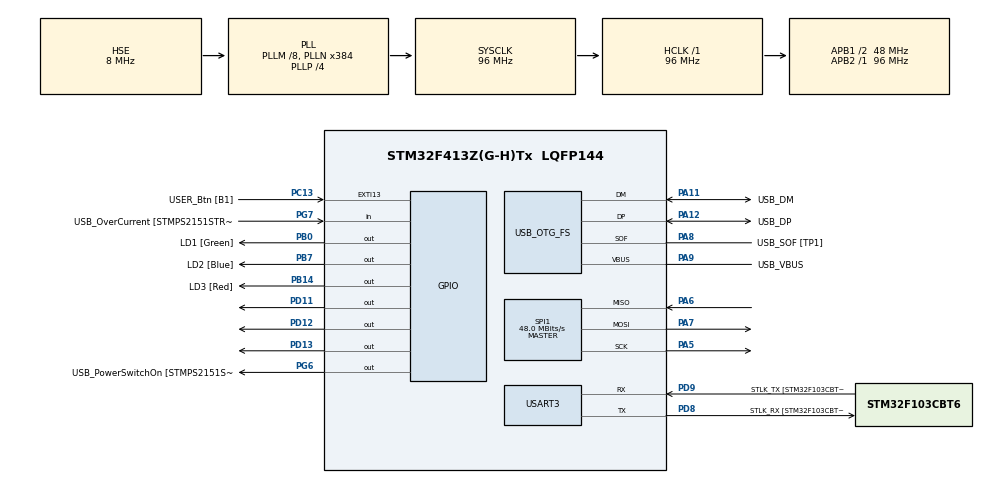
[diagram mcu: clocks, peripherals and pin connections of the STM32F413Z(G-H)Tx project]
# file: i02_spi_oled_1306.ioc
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Mcu.Family=STM32F4
Mcu.Name=STM32F413Z(G-H)Tx
Mcu.Package=LQFP144
NVIC.PriorityGroup=NVIC_PRIORITYGROUP_4
PA10.GPIO_Label=USB_ID
PA10.Signal=USB_OTG_FS_ID
PA11.GPIO_Label=USB_DM
PA11.Mode=Device_Only
PA11.Signal=USB_OTG_FS_DM
PA12.GPIO_Label=USB_DP
PA12.Mode=Device_Only
PA12.Signal=USB_OTG_FS_DP
PA13.GPIO_Label=TMS
PA13.Mode=Serial_Wire
PA13.Signal=SYS_JTMS-SWDIO
PA14.GPIO_Label=TCK
PA14.Mode=Serial_Wire
PA14.Signal=SYS_JTCK-SWCLK
PA5.Mode=Full_Duplex_Master
PA5.Signal=SPI1_SCK
PA6.Mode=Full_Duplex_Master
PA6.Signal=SPI1_MISO
PA7.Mode=Full_Duplex_Master
PA7.Signal=SPI1_MOSI
PA8.GPIO_Label=USB_SOF [TP1]
PA8.Mode=Activate_SOF_FS
PA8.Signal=USB_OTG_FS_SOF
PA9.GPIO_Label=USB_VBUS
PA9.Mode=Activate_VBUS
PA9.Signal=USB_OTG_FS_VBUS
PB0.GPIO_Label=LD1 [Green]
PB0.Signal=GPIO_Output
PB14.GPIO_Label=LD3 [Red]
PB14.Signal=GPIO_Output
PB3.GPIO_Label=SWO
PB3.Signal=SYS_JTDO-SWO
PB7.GPIO_Label=LD2 [Blue]
PB7.Signal=GPIO_Output
PC13.GPIO_Label=USER_Btn [B1]
PC13.Signal=GPXTI13
PC14-OSC32_IN.Mode=LSE-External-Oscillator
PC14-OSC32_IN.Signal=RCC_OSC32_IN
PC15-OSC32_OUT.Mode=LSE-External-Oscillator
PC15-OSC32_OUT.Signal=RCC_OSC32_OUT
PD11.Signal=GPIO_Output
PD12.Signal=GPIO_Output
PD13.Signal=GPIO_Output
PD8.GPIO_Label=STLK_RX [STM32F103CBT6_PA3]
PD8.Mode=Asynchronous
PD8.Signal=USART3_TX
PD9.GPIO_Label=STLK_TX [STM32F103CBT6_PA2]
PD9.Mode=Asynchronous
PD9.Signal=USART3_RX
PG6.GPIO_Label=USB_PowerSwitchOn [STMPS2151STR_EN]
PG6.Signal=GPIO_Output
PG7.GPIO_Label=USB_OverCurrent [STMPS2151STR_FAULT]
PG7.Signal=GPIO_Input
PH0\ -\ OSC_IN.GPIO_Label=MCO
PH0\ -\ OSC_IN.Mode=HSE-External-Clock-Source
PH0\ -\ OSC_IN.Signal=RCC_OSC_IN
PH1\ -\ OSC_OUT.Mode=HSE-External-Clock-Source
PH1\ -\ OSC_OUT.Signal=RCC_OSC_OUT
ProjectManager.HeapSize=0x200
ProjectManager.StackSize=0x400
ProjectManager.TargetToolchain=STM32CubeIDE
RCC.48MHZClocksFreq_Value=24000000
RCC.AHBFreq_Value=96000000
RCC.APB1CLKDivider=RCC_HCLK_DIV2
RCC.APB1Freq_Value=48000000
RCC.APB1TimFreq_Value=96000000
RCC.APB2Freq_Value=96000000
RCC.APB2TimFreq_Value=96000000
RCC.CortexFreq_Value=96000000
RCC.HCLKFreq_Value=96000000
RCC.HSE_VALUE=8000000
RCC.HSI_VALUE=16000000
RCC.PLLM=8
RCC.PLLMUL=RCC_PLL_MUL9
RCC.PLLN=384
RCC.PLLP=RCC_PLLP_DIV4
RCC.PLLQ=8
RCC.PRESCALERUSB=RCC_USBCLKSOURCE_PLL_DIV1_5
RCC.SYSCLKFreq_VALUE=96000000
RCC.SYSCLKSource=RCC_SYSCLKSOURCE_PLLCLK
RCC.SYSCLKSourceVirtual=RCC_SYSCLKSOURCE_PLLCLK
RCC.USBFreq_Value=48000000
RCC.VCOOutputFreq_Value=384000000
SPI1.CalculateBaudRate=48.0 MBits/s
SPI1.Direction=SPI_DIRECTION_2LINES
SPI1.Mode=SPI_MODE_MASTER
SPI1.VirtualType=VM_MASTER
USART3.VirtualMode=VM_ASYNC
USB_OTG_FS.VirtualMode=Device_Only
board=NUCLEO-F413ZH

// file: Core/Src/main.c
/* USER CODE BEGIN Header */
/**
 ******************************************************************************
 * @file           : main.c
 * @brief          : Main program body
 ******************************************************************************
 * @attention
 *
 * Copyright (c) 2025 STMicroelectronics.
 * All rights reserved.
 *
 * This software is licensed under terms that can be found in the LICENSE file
 * in the root directory of this software component.
 * If no LICENSE file comes with this software, it is provided AS-IS.
 *
 ******************************************************************************
 */
/* USER CODE END Header */
#include "main.h"
/* USER CODE BEGIN Includes */
/* 解析度設定 */
#define SSD1306_WIDTH   128
#define SSD1306_HEIGHT   64
/* 連接腳位（依你的接線調整） */
#define SSD1306_SPI_HANDLE   hspi1
extern SPI_HandleTypeDef SSD1306_SPI_HANDLE;
#define SSD1306_DC_Port   GPIOD
#define SSD1306_DC_Pin    GPIO_PIN_12
#define SSD1306_RST_Port  GPIOD
#define SSD1306_RST_Pin   GPIO_PIN_13
#define SSD1306_CS_Port   GPIOD
#define SSD1306_CS_Pin    GPIO_PIN_11
/* 公用 API */
void     SSD1306_Init(void);
void     SSD1306_Update(void);
void     SSD1306_Fill(uint8_t color);    /* 0x00=黑, 0xFF=白(每頁位元) */
void     SSD1306_DrawPixel(uint16_t x, uint16_t y, uint8_t color);
/* 簡易工具 */
static inline void SSD1306_Select(void)   { HAL_GPIO_WritePin(SSD1306_CS_Port,  SSD1306_CS_Pin,  GPIO_PIN_RESET); }
static inline void SSD1306_Unselect(void) { HAL_GPIO_WritePin(SSD1306_CS_Port,  SSD1306_CS_Pin,  GPIO_PIN_SET); }
static inline void SSD1306_DC_Command(void){ HAL_GPIO_WritePin(SSD1306_DC_Port, SSD1306_DC_Pin, GPIO_PIN_RESET); }
static inline void SSD1306_DC_Data(void)   { HAL_GPIO_WritePin(SSD1306_DC_Port, SSD1306_DC_Pin, GPIO_PIN_SET);   }
/* USER CODE END Includes */
SPI_HandleTypeDef hspi1;
UART_HandleTypeDef huart3;
PCD_HandleTypeDef hpcd_USB_OTG_FS;
void SystemClock_Config(void);
static void MX_GPIO_Init(void);
static void MX_USART3_UART_Init(void);
static void MX_USB_OTG_FS_PCD_Init(void);
static void MX_SPI1_Init(void);
int main(void)
{
 /* MCU Configuration--------------------------------------------------------*/
 /* Reset of all peripherals, Initializes the Flash interface and the Systick. */
 HAL_Init();
 /* Configure the system clock */
 SystemClock_Config();
 /* Initialize all configured peripherals */
 MX_GPIO_Init();
 MX_USART3_UART_Init();
 MX_USB_OTG_FS_PCD_Init();
 MX_SPI1_Init();
 /* Infinite loop */
 /* USER CODE BEGIN WHILE */
 SSD1306_Init();                // 啟動顯示器
 /* Demo：畫斜線與邊框，再全螢幕更新 */
   SSD1306_Fill(0x00);            // 清黑
   for (uint16_t i = 0; i < 64; ++i) {
       SSD1306_DrawPixel(i*2, i, 1);            // 斜線
   }
   for (uint16_t x = 0; x < SSD1306_WIDTH;  ++x) { // 上/下邊框
       SSD1306_DrawPixel(x, 0, 1);
       SSD1306_DrawPixel(x, SSD1306_HEIGHT-1, 1);
   }
   for (uint16_t y = 0; y < SSD1306_HEIGHT; ++y) { // 左/右邊框
       SSD1306_DrawPixel(0, y, 1);
       SSD1306_DrawPixel(SSD1306_WIDTH-1, y, 1);
   }
   SSD1306_Update();
 while (1)
 {
	  HAL_Delay(1000);
   /* USER CODE END WHILE */
 }
}
void SystemClock_Config(void)
{
 RCC_OscInitTypeDef RCC_OscInitStruct = {0};
 RCC_ClkInitTypeDef RCC_ClkInitStruct = {0};
 /** Configure the main internal regulator output voltage
 */
 __HAL_RCC_PWR_CLK_ENABLE();
 __HAL_PWR_VOLTAGESCALING_CONFIG(PWR_REGULATOR_VOLTAGE_SCALE1);
 /** Initializes the RCC Oscillators according to the specified parameters
 * in the RCC_OscInitTypeDef structure.
 */
 RCC_OscInitStruct.OscillatorType = RCC_OSCILLATORTYPE_HSE;
 RCC_OscInitStruct.HSEState = RCC_HSE_BYPASS;
 RCC_OscInitStruct.PLL.PLLState = RCC_PLL_ON;
 RCC_OscInitStruct.PLL.PLLSource = RCC_PLLSOURCE_HSE;
 RCC_OscInitStruct.PLL.PLLM = 8;
 RCC_OscInitStruct.PLL.PLLN = 384;
 RCC_OscInitStruct.PLL.PLLP = RCC_PLLP_DIV4;
 RCC_OscInitStruct.PLL.PLLQ = 8;
 RCC_OscInitStruct.PLL.PLLR = 2;
 if (HAL_RCC_OscConfig(&RCC_OscInitStruct) != HAL_OK)
 {
   Error_Handler();
 }
 /** Initializes the CPU, AHB and APB buses clocks
 */
 RCC_ClkInitStruct.ClockType = RCC_CLOCKTYPE_HCLK|RCC_CLOCKTYPE_SYSCLK
                             |RCC_CLOCKTYPE_PCLK1|RCC_CLOCKTYPE_PCLK2;
 RCC_ClkInitStruct.SYSCLKSource = RCC_SYSCLKSOURCE_PLLCLK;
 RCC_ClkInitStruct.AHBCLKDivider = RCC_SYSCLK_DIV1;
 RCC_ClkInitStruct.APB1CLKDivider = RCC_HCLK_DIV2;
 RCC_ClkInitStruct.APB2CLKDivider = RCC_HCLK_DIV1;
 if (HAL_RCC_ClockConfig(&RCC_ClkInitStruct, FLASH_LATENCY_3) != HAL_OK)
 {
   Error_Handler();
 }
}
static void MX_SPI1_Init(void)
{
 /* SPI1 parameter configuration*/
 hspi1.Instance = SPI1;
 hspi1.Init.Mode = SPI_MODE_MASTER;
 hspi1.Init.Direction = SPI_DIRECTION_2LINES;
 hspi1.Init.DataSize = SPI_DATASIZE_8BIT;
 hspi1.Init.CLKPolarity = SPI_POLARITY_LOW;
 hspi1.Init.CLKPhase = SPI_PHASE_1EDGE;
 hspi1.Init.NSS = SPI_NSS_SOFT;
 hspi1.Init.BaudRatePrescaler = SPI_BAUDRATEPRESCALER_2;
 hspi1.Init.FirstBit = SPI_FIRSTBIT_MSB;
 hspi1.Init.TIMode = SPI_TIMODE_DISABLE;
 hspi1.Init.CRCCalculation = SPI_CRCCALCULATION_DISABLE;
 hspi1.Init.CRCPolynomial = 7;
 if (HAL_SPI_Init(&hspi1) != HAL_OK)
 {
   Error_Handler();
 }
}
static void MX_USART3_UART_Init(void)
{
 huart3.Instance = USART3;
 huart3.Init.BaudRate = 115200;
 huart3.Init.WordLength = UART_WORDLENGTH_8B;
 huart3.Init.StopBits = UART_STOPBITS_1;
 huart3.Init.Parity = UART_PARITY_NONE;
 huart3.Init.Mode = UART_MODE_TX_RX;
 huart3.Init.HwFlowCtl = UART_HWCONTROL_NONE;
 huart3.Init.OverSampling = UART_OVERSAMPLING_16;
 if (HAL_UART_Init(&huart3) != HAL_OK)
 {
   Error_Handler();
 }
}
static void MX_USB_OTG_FS_PCD_Init(void)
{
 hpcd_USB_OTG_FS.Instance = USB_OTG_FS;
 hpcd_USB_OTG_FS.Init.dev_endpoints = 6;
 hpcd_USB_OTG_FS.Init.speed = PCD_SPEED_FULL;
 hpcd_USB_OTG_FS.Init.dma_enable = DISABLE;
 hpcd_USB_OTG_FS.Init.phy_itface = PCD_PHY_EMBEDDED;
 hpcd_USB_OTG_FS.Init.Sof_enable = ENABLE;
 hpcd_USB_OTG_FS.Init.low_power_enable = DISABLE;
 hpcd_USB_OTG_FS.Init.lpm_enable = DISABLE;
 hpcd_USB_OTG_FS.Init.battery_charging_enable = ENABLE;
 hpcd_USB_OTG_FS.Init.vbus_sensing_enable = ENABLE;
 hpcd_USB_OTG_FS.Init.use_dedicated_ep1 = DISABLE;
 if (HAL_PCD_Init(&hpcd_USB_OTG_FS) != HAL_OK)
 {
   Error_Handler();
 }
}
static void MX_GPIO_Init(void)
{
 GPIO_InitTypeDef GPIO_InitStruct = {0};
 /* GPIO Ports Clock Enable */
 __HAL_RCC_GPIOC_CLK_ENABLE();
 __HAL_RCC_GPIOH_CLK_ENABLE();
 __HAL_RCC_GPIOA_CLK_ENABLE();
 __HAL_RCC_GPIOB_CLK_ENABLE();
 __HAL_RCC_GPIOD_CLK_ENABLE();
 __HAL_RCC_GPIOG_CLK_ENABLE();
 /*Configure GPIO pin Output Level */
 HAL_GPIO_WritePin(GPIOB, LD1_Pin|LD3_Pin|LD2_Pin, GPIO_PIN_RESET);
 /*Configure GPIO pin Output Level */
 HAL_GPIO_WritePin(GPIOD, GPIO_PIN_11|GPIO_PIN_12|GPIO_PIN_13, GPIO_PIN_RESET);
 /*Configure GPIO pin Output Level */
 HAL_GPIO_WritePin(USB_PowerSwitchOn_GPIO_Port, USB_PowerSwitchOn_Pin, GPIO_PIN_RESET);
 /*Configure GPIO pin : USER_Btn_Pin */
 GPIO_InitStruct.Pin = USER_Btn_Pin;
 GPIO_InitStruct.Mode = GPIO_MODE_IT_RISING;
 GPIO_InitStruct.Pull = GPIO_NOPULL;
 HAL_GPIO_Init(USER_Btn_GPIO_Port, &GPIO_InitStruct);
 /*Configure GPIO pins : LD1_Pin LD3_Pin LD2_Pin */
 GPIO_InitStruct.Pin = LD1_Pin|LD3_Pin|LD2_Pin;
 GPIO_InitStruct.Mode = GPIO_MODE_OUTPUT_PP;
 GPIO_InitStruct.Pull = GPIO_NOPULL;
 GPIO_InitStruct.Speed = GPIO_SPEED_FREQ_LOW;
 HAL_GPIO_Init(GPIOB, &GPIO_InitStruct);
 /*Configure GPIO pins : PD11 PD12 PD13 */
 GPIO_InitStruct.Pin = GPIO_PIN_11|GPIO_PIN_12|GPIO_PIN_13;
 GPIO_InitStruct.Mode = GPIO_MODE_OUTPUT_PP;
 GPIO_InitStruct.Pull = GPIO_NOPULL;
 GPIO_InitStruct.Speed = GPIO_SPEED_FREQ_LOW;
 HAL_GPIO_Init(GPIOD, &GPIO_InitStruct);
 /*Configure GPIO pin : USB_PowerSwitchOn_Pin */
 GPIO_InitStruct.Pin = USB_PowerSwitchOn_Pin;
 GPIO_InitStruct.Mode = GPIO_MODE_OUTPUT_PP;
 GPIO_InitStruct.Pull = GPIO_NOPULL;
 GPIO_InitStruct.Speed = GPIO_SPEED_FREQ_LOW;
 HAL_GPIO_Init(USB_PowerSwitchOn_GPIO_Port, &GPIO_InitStruct);
 /*Configure GPIO pin : USB_OverCurrent_Pin */
 GPIO_InitStruct.Pin = USB_OverCurrent_Pin;
 GPIO_InitStruct.Mode = GPIO_MODE_INPUT;
 GPIO_InitStruct.Pull = GPIO_NOPULL;
 HAL_GPIO_Init(USB_OverCurrent_GPIO_Port, &GPIO_InitStruct);
}
/* USER CODE BEGIN 4 */
/* 畫面緩衝：128x64/8 = 1024 Bytes */
static uint8_t ssd1306_Buffer[SSD1306_WIDTH * SSD1306_HEIGHT / 8];
static void ssd1306_Reset(void) {
   HAL_GPIO_WritePin(SSD1306_RST_Port, SSD1306_RST_Pin, GPIO_PIN_RESET);
   HAL_Delay(5);
   HAL_GPIO_WritePin(SSD1306_RST_Port, SSD1306_RST_Pin, GPIO_PIN_SET);
   HAL_Delay(5);
}
static void ssd1306_WriteCommand(uint8_t cmd) {
   SSD1306_Select();
   SSD1306_DC_Command();
   HAL_SPI_Transmit(&SSD1306_SPI_HANDLE, &cmd, 1, HAL_MAX_DELAY);
   SSD1306_Unselect();
}
static void ssd1306_WriteData(uint8_t *data, size_t size) {
   SSD1306_Select();
   SSD1306_DC_Data();
   HAL_SPI_Transmit(&SSD1306_SPI_HANDLE, data, size, HAL_MAX_DELAY);
   SSD1306_Unselect();
}
void SSD1306_Init(void) {
   /* 硬體復位 */
   ssd1306_Reset();
   /* 初始化命令序列（128x64 常用設定） */
   ssd1306_WriteCommand(0xAE);         // display off
   ssd1306_WriteCommand(0xD5); ssd1306_WriteCommand(0x80); // clock divide / oscillator
   ssd1306_WriteCommand(0xA8); ssd1306_WriteCommand(0x3F); // multiplex 1/64
   ssd1306_WriteCommand(0xD3); ssd1306_WriteCommand(0x00); // display offset
   ssd1306_WriteCommand(0x40);         // start line = 0
   ssd1306_WriteCommand(0x8D); ssd1306_WriteCommand(0x14); // charge pump on (internal)
   ssd1306_WriteCommand(0x20); ssd1306_WriteCommand(0x00); // memory address mode: horizontal
   ssd1306_WriteCommand(0xA1);         // segment remap
   ssd1306_WriteCommand(0xC8);         // COM scan direction remap
   ssd1306_WriteCommand(0xDA); ssd1306_WriteCommand(0x12); // COM pins config for 128x64
   ssd1306_WriteCommand(0x81); ssd1306_WriteCommand(0x7F); // contrast
   ssd1306_WriteCommand(0xD9); ssd1306_WriteCommand(0xF1); // pre-charge
   ssd1306_WriteCommand(0xDB); ssd1306_WriteCommand(0x40); // VCOMH deselect level
   ssd1306_WriteCommand(0xA4);         // display follows RAM
   ssd1306_WriteCommand(0xA6);         // normal display (not inverted)
   ssd1306_WriteCommand(0xAF);         // display on
   /* 清畫面緩衝 */
   SSD1306_Fill(0x00);
   SSD1306_Update();
}
void SSD1306_Fill(uint8_t color) {
   memset(ssd1306_Buffer, color ? 0xFF : 0x00, sizeof(ssd1306_Buffer));
}
/* 單點繪製；y 由 0..63，對應到某頁與頁內位元 */
void SSD1306_DrawPixel(uint16_t x, uint16_t y, uint8_t color) {
   if (x >= SSD1306_WIDTH || y >= SSD1306_HEIGHT) return;
   uint32_t index = x + (y / 8) * SSD1306_WIDTH;
   uint8_t  mask  = 1 << (y % 8);
   if (color) ssd1306_Buffer[index] |= mask;
   else       ssd1306_Buffer[index] &= ~mask;
}
/* 將整個緩衝以水平位址模式一次刷到 0..127 × 0..7 頁 */
void SSD1306_Update(void) {
   /* 設定列範圍（Column）與頁範圍（Page） */
   ssd1306_WriteCommand(0x21); // Set Column Address
   ssd1306_WriteCommand(0x00);
   ssd1306_WriteCommand(SSD1306_WIDTH - 1);
   ssd1306_WriteCommand(0x22); // Set Page Address
   ssd1306_WriteCommand(0x00);
   ssd1306_WriteCommand((SSD1306_HEIGHT / 8) - 1);
   /* 送出整個 frame buffer */
   ssd1306_WriteData(ssd1306_Buffer, sizeof(ssd1306_Buffer));
}
/* USER CODE END 4 */
void Error_Handler(void)
{
 __disable_irq();
 while (1)
 {
 }
}
